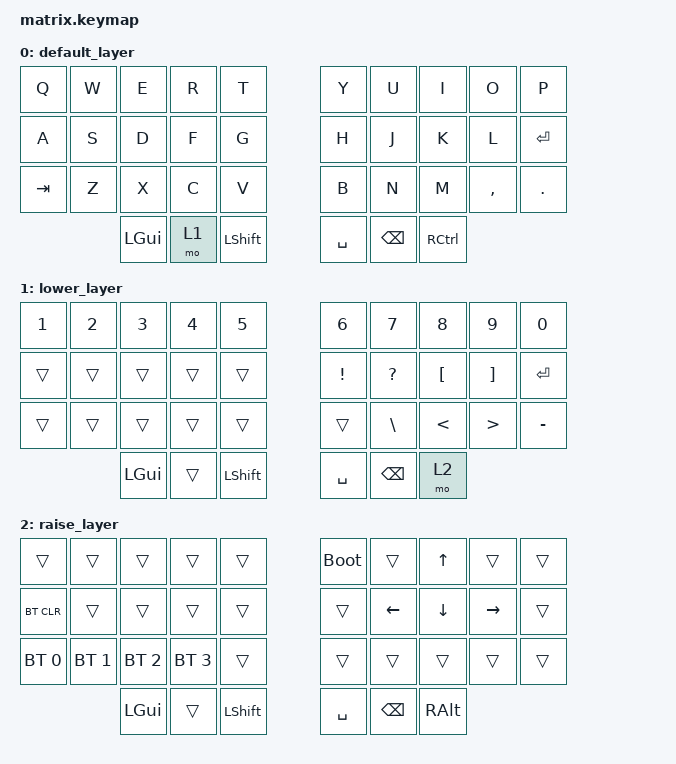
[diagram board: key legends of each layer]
/*
 * Copyright (c) 2020 The ZMK Contributors
 *
 * SPDX-License-Identifier: MIT
 */

#include <behaviors.dtsi>
#include <dt-bindings/zmk/bt.h>
#include <dt-bindings/zmk/keys.h>

#define default_layer 0
#define lower_layer   1
#define raise_layer   2

/ {
    combos { compatible = "zmk,combos"; };

    keymap {
        compatible = "zmk,keymap";

        default_layer {
            bindings = <
&kp Q    &kp W  &kp E     &kp R  &kp T           &kp Y      &kp U          &kp I              &kp O      &kp P
&kp A    &kp S  &kp D     &kp F  &kp G           &kp H      &kp J          &kp K              &kp L      &kp ENTER
&kp TAB  &kp Z  &kp X     &kp C  &kp V           &kp B      &kp N          &kp M              &kp COMMA  &kp PERIOD
                &kp LGUI  &mo 1  &kp LEFT_SHIFT  &kp SPACE  &kp BACKSPACE  &kp RIGHT_CONTROL
            >;
        };

        lower_layer {
            bindings = <
&kp N1  &kp N2  &kp N3    &kp N4  &kp N5          &kp N6           &kp N7         &kp N8            &kp N9             &kp N0
&trans  &trans  &trans    &trans  &trans          &kp EXCLAMATION  &kp QUESTION   &kp LEFT_BRACKET  &kp RIGHT_BRACKET  &kp RETURN
&trans  &trans  &trans    &trans  &trans          &trans           &kp BACKSLASH  &kp LESS_THAN     &kp GREATER_THAN   &kp MINUS
                &kp LGUI  &trans  &kp LEFT_SHIFT  &kp SPACE        &kp BACKSPACE  &mo 2
            >;
        };

        raise_layer {
            bindings = <
&trans        &trans        &trans        &trans        &trans          &bootloader  &trans          &kp UP_ARROW    &trans           &trans
&bt BT_CLR    &trans        &trans        &trans        &trans          &trans       &kp LEFT_ARROW  &kp DOWN_ARROW  &kp RIGHT_ARROW  &trans
&bt BT_SEL 0  &bt BT_SEL 1  &bt BT_SEL 2  &bt BT_SEL 3  &trans          &trans       &trans          &trans          &trans           &trans
                            &kp LGUI      &trans        &kp LEFT_SHIFT  &kp SPACE    &kp BACKSPACE   &kp RALT
            >;
        };
    };
};
